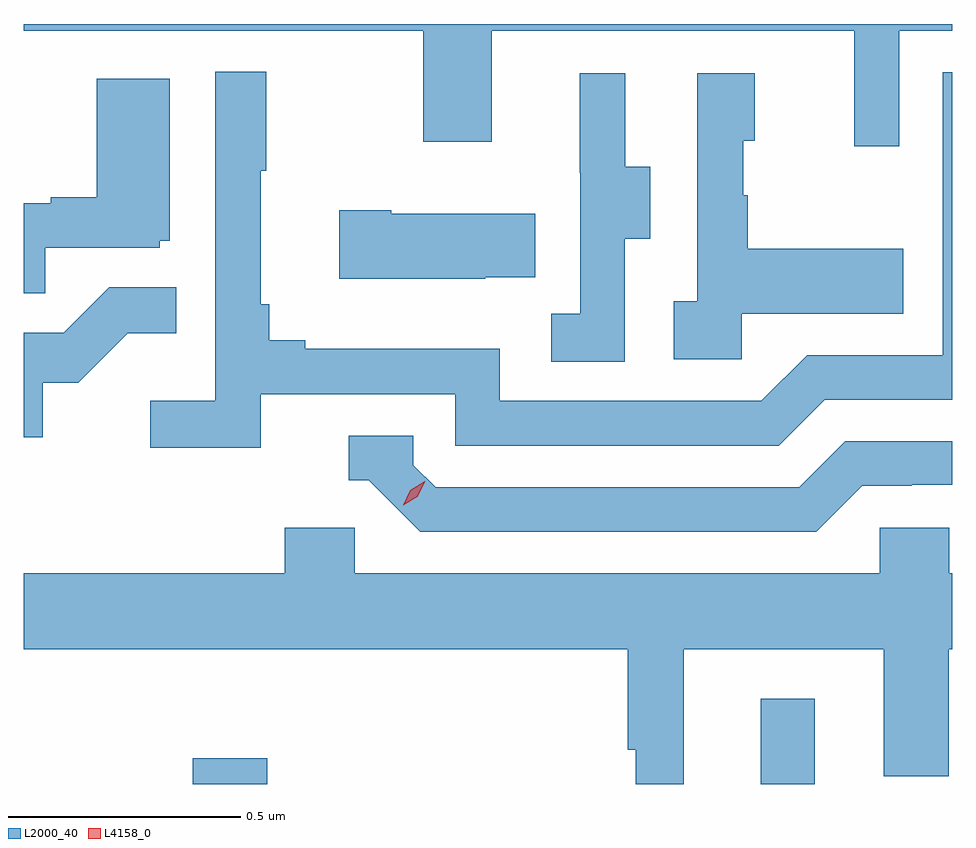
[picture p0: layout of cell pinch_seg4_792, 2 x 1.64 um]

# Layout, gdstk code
import gdstk
lib = gdstk.Library(unit=1e-6, precision=1e-09)
def R(c, l, rs):  # rectangles x0, y0, x1, y1
    for r in rs: c.add(gdstk.rectangle(r[:2], r[2:], *l))
def P(c, l, *ps):  # polygons
    for p in ps: c.add(gdstk.Polygon(p, *l))
L2000_40 = (2000, 40)
L4158_0 = (4158, 0)

pinch_seg4_792 = lib.new_cell('pinch_seg4_792')
R(pinch_seg4_792, L2000_40, [(816.011,831.162,816.172,831.217), (817.235,831.162,817.351,831.346)])
P(pinch_seg4_792, L2000_40, [(817.533,832.784),(817.647,832.784),(817.647,832.799),(815.647,832.799),(815.647,832.784),(816.508,832.784),(816.508,832.545),(816.655,832.545),(816.655,832.784),(817.436,832.784),(817.436,832.536),(817.533,832.536)],
  [(816.158,832.002),(816.576,832.002),(816.576,831.891),(817.273,831.891),(817.372,831.99),(817.647,831.99),(817.647,832.695),(817.626,832.695),(817.626,832.086),(817.335,832.086),(817.236,831.987),(816.672,831.987),(816.672,832.099),(816.253,832.099),(816.253,832.118),(816.176,832.118),(816.176,832.195),(816.157,832.195),(816.157,832.483),(816.169,832.483),(816.169,832.696),(816.06,832.696),(816.06,831.988),(815.919,831.988),(815.919,831.886),(816.158,831.886)],
  [(816.942,832.336),(816.997,832.336),(816.997,832.491),(816.943,832.491),(816.943,832.693),(816.845,832.693),(816.845,832.479),(816.846,832.479),(816.846,832.175),(816.783,832.175),(816.783,832.072),(816.942,832.072)],
  [(817.194,832.175),(817.541,832.175),(817.541,832.315),(817.207,832.315),(817.207,832.43),(817.197,832.43),(817.197,832.548),(817.222,832.548),(817.222,832.693),(817.098,832.693),(817.098,832.202),(817.047,832.202),(817.047,832.077),(817.194,832.077)],
  [(815.693,832.317),(815.94,832.317),(815.94,832.332),(815.962,832.332),(815.962,832.681),(815.804,832.681),(815.804,832.426),(815.705,832.426),(815.705,832.413),(815.647,832.413),(815.647,832.219),(815.693,832.219)],
  [(816.641,832.253),(816.749,832.253),(816.749,832.39),(816.439,832.39),(816.439,832.398),(816.327,832.398),(816.327,832.25),(816.641,832.25)],
  [(815.688,832.026),(815.764,832.026),(815.871,832.133),(815.975,832.133),(815.975,832.232),(815.831,832.232),(815.733,832.134),(815.647,832.134),(815.647,831.909),(815.688,831.909)],
  [(817.453,831.804),(817.56,831.804),(817.56,831.807),(817.647,831.807),(817.647,831.9),(817.416,831.9),(817.317,831.801),(816.534,831.801),(816.486,831.849),(816.486,831.912),(816.347,831.912),(816.347,831.816),(816.39,831.816),(816.501,831.705),(817.354,831.705)],
  [(816.209,831.714),(816.209,831.616),(815.647,831.616),(815.647,831.452),(816.948,831.452),(816.948,831.236),(816.965,831.236),(816.965,831.162),(817.069,831.162),(817.069,831.452),(817.499,831.452),(817.499,831.179),(817.639,831.179),(817.639,831.452),(817.647,831.452),(817.647,831.616),(817.641,831.616),(817.641,831.714),(817.491,831.714),(817.491,831.616),(816.36,831.616),(816.36,831.714)])
P(pinch_seg4_792, L4158_0, [(816.464,831.762),(816.464,831.762),(816.48,831.795),(816.511,831.814),(816.512,831.814),(816.512,831.814),(816.495,831.781),(816.464,831.762)])

lib.write_gds('pinch_seg4_792.gds')
